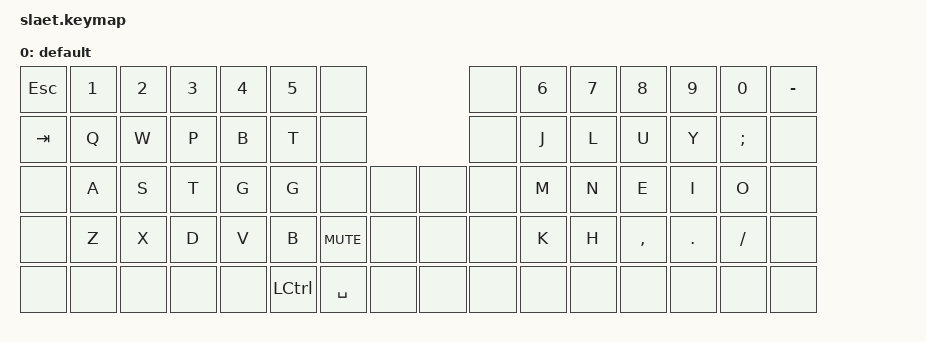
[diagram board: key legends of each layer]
/*
 * Copyright (c) 2024 Slaet Reteals
 *
 * SPDX-License-Identifier: MIT
 */

#include <behaviors.dtsi>
#include <dt-bindings/zmk/keys.h>
#include <dt-bindings/zmk/bt.h>
#include <dt-bindings/zmk/ext_power.h>
#include <dt-bindings/zmk/mouse.h>

#define BASE 0
#define LOWER 1
#define RAISE 2
#define ADJUST 3

/ {

   // Activate ADJUST layer by pressing raise and lower
    conditional_layers {
        compatible = "zmk,conditional-layers";
        adjust_layer {
            if-layers = <LOWER RAISE>;
            then-layer = <ADJUST>;
        };
    };

    keymap {
        compatible = "zmk,keymap";

        default_layer {
            display-name = "default";
// -------------------------------------------------------------------------------------------------------------------------------------------------
// | ESC  | 1    | 2    | 3     | 4     | 5    | Null |                                           | Null | 6    | 7    | 8    | 9    | 0    | -    |
// | TAB  | Q    | W    | F     | P     | B    | Null |                                           | Null | L    | U    | Y    | :    | |    | Null |
// | Null | A    | R    | S     | T     | G    | Null |               WIN  |     | Null           | Null | M    | N    | E    | I    | O    | Null |
// | Null | Z    | X    | C     | D     | V    |              Null  | Null |     | Null | Null           | K    | H    | <    | >    | ?    | Null |
// | Null | Null | Null | Null  | Null  |             LCTRL | SPACE | Null |     | Null | Null | Null           | Null | Null | Null | Null | Null |
            bindings = <
&kp ESC &kp N1  &kp N2  &kp N3  &kp N4  &kp N5  &none                                               &none   &kp N6  &kp N7  &kp N8      &kp N9  &kp N0      &kp MINUS
&kp TAB &kp Q   &kp W   &kp P   &kp B   &kp T   &none                                               &none   &kp J   &kp L   &kp U       &kp Y   &kp SEMI    &none
&none   &kp A   &kp S   &kp T   &kp G   &kp G   &none                   &none       &none           &none   &kp M   &kp N   &kp E       &kp I   &kp O       &none
&none   &kp Z   &kp X   &kp D   &kp V   &kp B               &kp C_MUTE  &none       &none   &none           &kp K   &kp H   &kp COMMA   &kp DOT &kp FSLH    &none
&none   &none   &none   &none   &none           &kp LCTRL   &kp SPACE   &none       &none   &none   &none           &none   &none       &none   &none       &none
            >;

        };
    };
};
